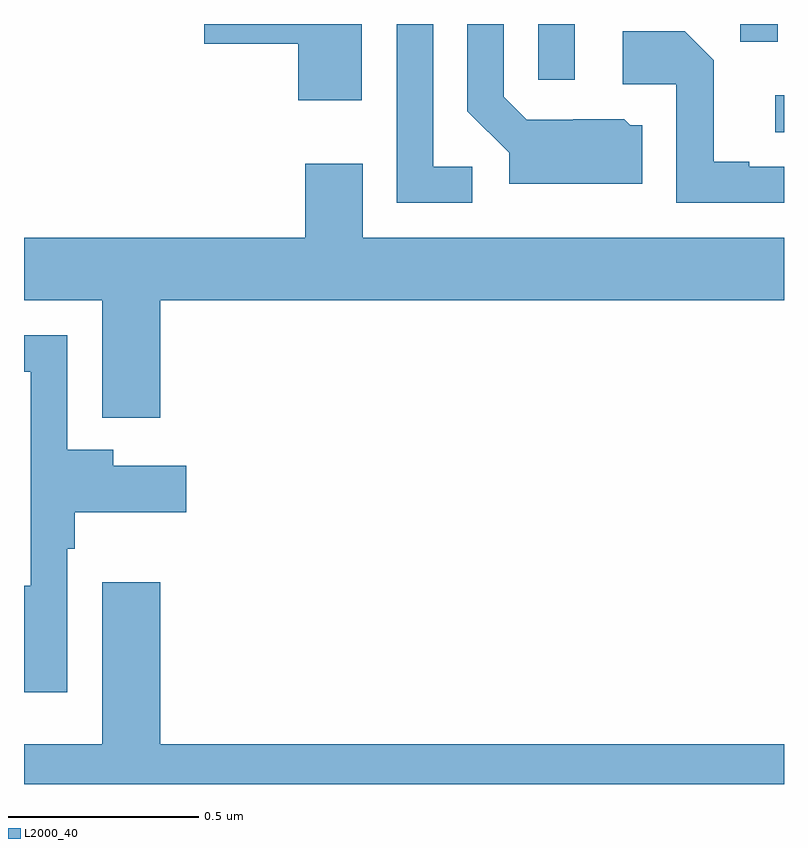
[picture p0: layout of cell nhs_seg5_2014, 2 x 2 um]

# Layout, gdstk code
import gdstk
lib = gdstk.Library(unit=1e-6, precision=1e-09)
def R(c, l, rs):  # rectangles x0, y0, x1, y1
    for r in rs: c.add(gdstk.rectangle(r[:2], r[2:], *l))
def P(c, l, *ps):  # polygons
    for p in ps: c.add(gdstk.Polygon(p, *l))
L2000_40 = (2000, 40)

nhs_seg5_2014 = lib.new_cell('nhs_seg5_2014')
R(nhs_seg5_2014, L2000_40, [(139.977,878.514,140,878.611), (139.353,878.652,139.449,878.799), (139.885,878.752,139.983,878.799)])
P(nhs_seg5_2014, L2000_40, [(139.627,878.532),(139.596,878.532),(139.58,878.548),(139.446,878.548),(139.446,878.547),(139.323,878.547),(139.263,878.607),(139.263,878.799),(139.167,878.799),(139.167,878.57),(139.277,878.46),(139.277,878.378),(139.627,878.378)],
  [(139.18,878.424),(139.077,878.424),(139.077,878.799),(138.981,878.799),(138.981,878.328),(139.18,878.328)],
  [(138.889,878.799),(138.474,878.799),(138.474,878.747),(138.722,878.747),(138.722,878.598),(138.889,878.598)],
  [(140,878.424),(139.909,878.424),(139.909,878.437),(139.815,878.437),(139.815,878.704),(139.739,878.78),(139.575,878.78),(139.575,878.64),(139.716,878.64),(139.716,878.328),(140,878.328)],
  [(138.359,878.072),(140,878.072),(140,878.236),(138.892,878.236),(138.892,878.431),(138.74,878.431),(138.74,878.236),(138,878.236),(138,878.072),(138.206,878.072),(138.206,877.763),(138.359,877.763)],
  [(138.114,877.418),(138.134,877.418),(138.134,877.514),(138.427,877.514),(138.427,877.636),(138.235,877.636),(138.235,877.678),(138.114,877.678),(138.114,877.98),(138,877.98),(138,877.884),(138.018,877.884),(138.018,877.321),(138,877.321),(138,877.04),(138.114,877.04)],
  [(140,876.904),(138.359,876.904),(138.359,877.33),(138.206,877.33),(138.206,876.904),(138,876.904),(138,876.799),(140,876.799)])

lib.write_gds('nhs_seg5_2014.gds')
